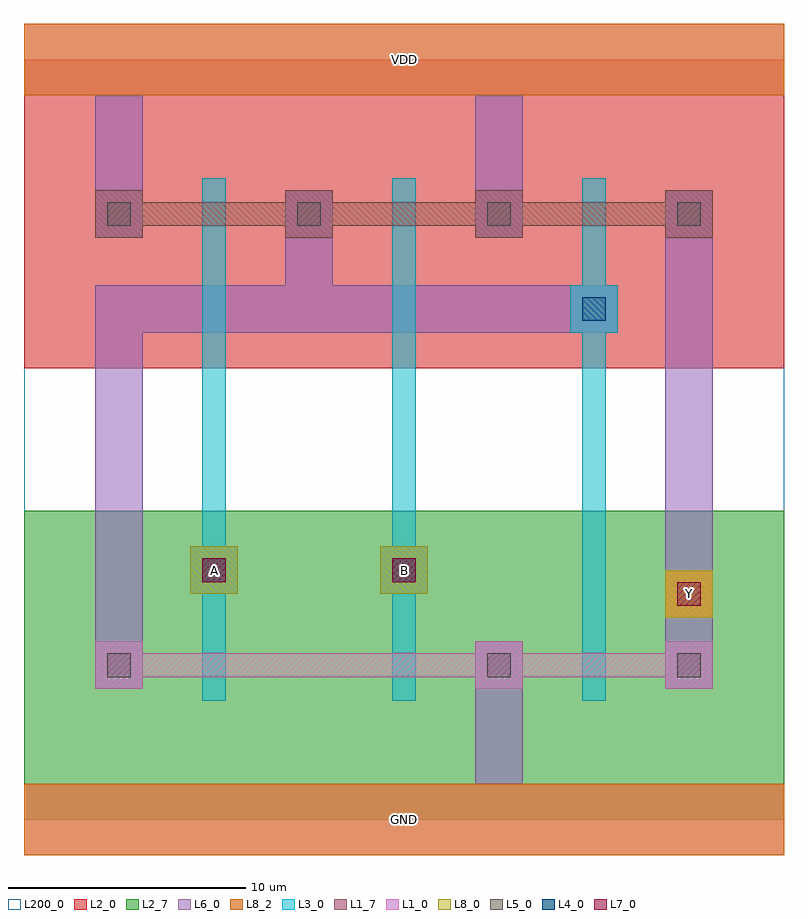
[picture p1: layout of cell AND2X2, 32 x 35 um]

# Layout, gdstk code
import gdstk
lib = gdstk.Library(unit=1e-6, precision=1e-09)
def R(c, l, rs):  # rectangles x0, y0, x1, y1
    for r in rs: c.add(gdstk.rectangle(r[:2], r[2:], *l))
def A(c, l, x, y, w, h, nx, ny, dx, dy):  # array of equal rectangles
    R(c, l, [(x+i*dx, y+j*dy, x+i*dx+w, y+j*dy+h) for i in range(nx) for j in range(ny)])
def P(c, l, *ps):  # polygons
    for p in ps: c.add(gdstk.Polygon(p, *l))
L1_0 = (1, 0)
L1_7 = (1, 7)
L2_0 = (2, 0)
L2_7 = (2, 7)
L3_0 = (3, 0)
L4_0 = (4, 0)
L5_0 = (5, 0)
L6_0 = (6, 0)
L7_0 = (7, 0)
L8_0 = (8, 0)
L8_2 = (8, 2)
L200_0 = (200, 0)

and2x2 = lib.new_cell('AND2X2')
P(and2x2, L1_0, [(3,5.5),(3,7.5),(5,7.5),(5,7),(19,7),(19,7.5),(21,7.5),(21,7),(27,7),(27,7.5),(29,7.5),(29,5.5),(27,5.5),(27,6),(21,6),(21,5.5),(19,5.5),(19,6),(5,6),(5,5.5)])
P(and2x2, L1_7, [(3,24.5),(3,26.5),(5,26.5),(5,26),(11,26),(11,26.5),(13,26.5),(13,26),(19,26),(19,26.5),(21,26.5),(21,26),(27,26),(27,26.5),(29,26.5),(29,24.5),(27,24.5),(27,25),(21,25),(21,24.5),(19,24.5),(19,25),(13,25),(13,24.5),(11,24.5),(11,25),(5,25),(5,24.5)])
R(and2x2, L2_0, [(0,19,32,32)])
R(and2x2, L2_7, [(0,0,32,13)])
P(and2x2, L3_0, [(7.5,5),(7.5,9.5),(7,9.5),(7,11.5),(7.5,11.5),(7.5,27),(8.5,27),(8.5,11.5),(9,11.5),(9,9.5),(8.5,9.5),(8.5,5)],
  [(15.5,5),(15.5,9.5),(15,9.5),(15,11.5),(15.5,11.5),(15.5,27),(16.5,27),(16.5,11.5),(17,11.5),(17,9.5),(16.5,9.5),(16.5,5)],
  [(23.5,5),(23.5,20.5),(23,20.5),(23,22.5),(23.5,22.5),(23.5,27),(24.5,27),(24.5,22.5),(25,22.5),(25,20.5),(24.5,20.5),(24.5,5)])
R(and2x2, L4_0, [(7.5,10,8.5,11), (15.5,10,16.5,11), (23.5,21,24.5,22)])
A(and2x2, L5_0, 3.5, 25, 1, 1, 4, 1, 8, 0)
R(and2x2, L5_0, [(3.5,6,4.5,7), (19.5,6,20.5,7), (27.5,6,28.5,7)])
R(and2x2, L6_0, [(27,5.5,29,26.5), (7,9.5,9,11.5), (15,9.5,17,11.5)])
P(and2x2, L6_0, [(0,-1.5),(0,1.5),(19,1.5),(19,7.5),(21,7.5),(21,1.5),(32,1.5),(32,-1.5)],
  [(3,5.5),(3,22.5),(11,22.5),(11,26.5),(13,26.5),(13,22.5),(25,22.5),(25,20.5),(5,20.5),(5,5.5)],
  [(3,24.5),(3,30.5),(0,30.5),(0,33.5),(32,33.5),(32,30.5),(21,30.5),(21,24.5),(19,24.5),(19,30.5),(5,30.5),(5,24.5)])
R(and2x2, L7_0, [(27.5,9,28.5,10), (7.5,10,8.5,11), (15.5,10,16.5,11)])
R(and2x2, L8_0, [(27,8.5,29,10.5), (7,9.5,9,11.5), (15,9.5,17,11.5)])
R(and2x2, L8_2, [(27,8.5,29,10.5), (7,9.5,9,11.5), (15,9.5,17,11.5)])
R(and2x2, L200_0, [(0,0,32,32)])
and2x2.add(gdstk.FlexPath([(0,32),(32,32)], 3, ends="flush", simple_path=True, layer=8, datatype=2))  # L8_2
and2x2.add(gdstk.FlexPath([(0,0),(32,0)], 3, ends="flush", simple_path=True, layer=8, datatype=2))  # L8_2
and2x2.add(gdstk.Label('GND', (16,0), layer=6, texttype=1))
and2x2.add(gdstk.Label('VDD', (16,32), layer=6, texttype=1))
and2x2.add(gdstk.Label('A', (8,10.5), layer=8, texttype=1))
and2x2.add(gdstk.Label('B', (16,10.5), layer=8, texttype=1))
and2x2.add(gdstk.Label('Y', (28,9.5), layer=8, texttype=1))

lib.write_gds('AND2X2.gds')
